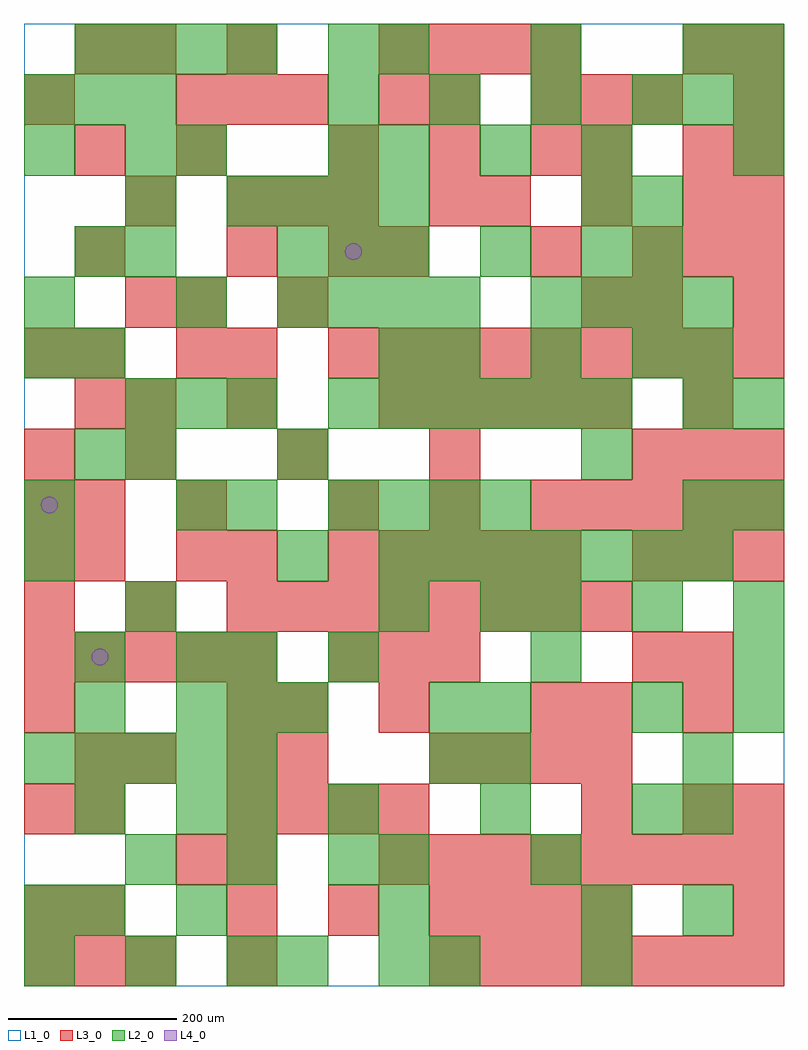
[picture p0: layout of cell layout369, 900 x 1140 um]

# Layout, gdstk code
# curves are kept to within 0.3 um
import gdstk
lib = gdstk.Library(unit=1e-6, precision=1e-09)
def R(c, l, rs):  # rectangles x0, y0, x1, y1
    for r in rs: c.add(gdstk.rectangle(r[:2], r[2:], *l))
def A(c, l, x, y, w, h, nx, ny, dx, dy):  # array of equal rectangles
    R(c, l, [(x+i*dx, y+j*dy, x+i*dx+w, y+j*dy+h) for i in range(nx) for j in range(ny)])
def P(c, l, *ps):  # polygons
    for p in ps: c.add(gdstk.Polygon(p, *l))
L1_0 = (1, 0)
L2_0 = (2, 0)
L3_0 = (3, 0)
L4_0 = (4, 0)

layout369 = lib.new_cell('layout369')
R(layout369, L1_0, [(0,0,900,1140)])
A(layout369, L2_0, 0, 0, 60, 60, 3, 1, 120, 0)
A(layout369, L2_0, 60, 60, 60, 60, 1, 3, 0, 120)
A(layout369, L2_0, 180, 60, 60, 60, 3, 1, 240, 0)
A(layout369, L2_0, 120, 120, 60, 60, 3, 1, 120, 0)
A(layout369, L2_0, 420, 120, 60, 60, 1, 3, 0, 300)
A(layout369, L2_0, 180, 180, 60, 60, 1, 3, 0, 180)
A(layout369, L2_0, 240, 180, 60, 60, 1, 3, 0, 180)
A(layout369, L2_0, 360, 180, 60, 60, 3, 1, 180, 0)
A(layout369, L2_0, 0, 240, 60, 60, 5, 1, 60, 0)
A(layout369, L2_0, 180, 300, 60, 60, 3, 1, 60, 0)
A(layout369, L2_0, 360, 360, 60, 60, 3, 1, 240, 0)
A(layout369, L2_0, 600, 420, 60, 60, 3, 1, 120, 0)
A(layout369, L2_0, 420, 480, 60, 60, 7, 1, 60, 0)
A(layout369, L2_0, 360, 540, 60, 60, 4, 1, 60, 0)
A(layout369, L2_0, 60, 600, 60, 60, 1, 3, 0, 120)
A(layout369, L2_0, 120, 660, 60, 60, 3, 1, 60, 0)
A(layout369, L2_0, 360, 660, 60, 60, 6, 1, 60, 0)
A(layout369, L2_0, 480, 720, 60, 60, 3, 1, 120, 0)
A(layout369, L2_0, 300, 780, 60, 60, 4, 1, 60, 0)
A(layout369, L2_0, 600, 780, 60, 60, 4, 1, 60, 0)
A(layout369, L2_0, 120, 840, 60, 60, 1, 3, 0, 60)
A(layout369, L2_0, 300, 840, 60, 60, 3, 1, 60, 0)
A(layout369, L2_0, 240, 900, 60, 60, 4, 1, 60, 0)
A(layout369, L2_0, 420, 960, 60, 60, 3, 1, 120, 0)
A(layout369, L2_0, 840, 960, 60, 60, 1, 3, 0, 60)
A(layout369, L2_0, 0, 1020, 60, 60, 3, 1, 60, 0)
A(layout369, L2_0, 360, 1020, 60, 60, 4, 1, 120, 0)
A(layout369, L2_0, 60, 1080, 60, 60, 4, 1, 60, 0)
A(layout369, L2_0, 420, 1080, 60, 60, 3, 1, 180, 0)
R(layout369, L2_0, [(300,0,360,60), (420,0,480,60), (480,0,540,60), (660,0,720,60), (0,60,60,120), (780,60,840,120), (600,120,660,180), (780,180,840,240), (480,240,540,300), (540,240,600,300), (780,240,840,300), (480,300,540,360), (540,300,600,360), (720,300,780,360), (840,300,900,360), (60,360,120,420), (120,420,180,480), (540,420,600,480), (0,480,60,540), (300,480,360,540), (0,540,60,600), (780,540,840,600), (840,540,900,600), (120,600,180,660), (300,600,360,660), (660,600,720,660), (780,660,840,720), (840,660,900,720), (0,720,60,780), (780,720,840,780), (0,780,60,840), (180,780,240,840), (540,840,600,900), (660,840,720,900), (720,840,780,900), (660,900,720,960), (720,900,780,960), (0,960,60,1020), (180,960,240,1020), (360,960,420,1020), (780,1020,840,1080), (360,1080,420,1140)])
A(layout369, L3_0, 0, 0, 60, 60, 3, 1, 60, 0)
A(layout369, L3_0, 240, 0, 60, 60, 1, 3, 0, 120)
A(layout369, L3_0, 480, 0, 60, 60, 7, 1, 60, 0)
A(layout369, L3_0, 0, 60, 60, 60, 1, 3, 0, 120)
A(layout369, L3_0, 240, 60, 60, 60, 3, 1, 120, 0)
A(layout369, L3_0, 540, 60, 60, 60, 3, 1, 60, 0)
A(layout369, L3_0, 420, 120, 60, 60, 8, 1, 60, 0)
A(layout369, L3_0, 240, 180, 60, 60, 4, 1, 60, 0)
A(layout369, L3_0, 480, 240, 60, 60, 4, 1, 60, 0)
A(layout369, L3_0, 240, 300, 60, 60, 1, 3, 0, 180)
A(layout369, L3_0, 0, 360, 60, 60, 5, 1, 60, 0)
A(layout369, L3_0, 360, 360, 60, 60, 3, 1, 60, 0)
A(layout369, L3_0, 780, 360, 60, 60, 1, 3, 0, 300)
A(layout369, L3_0, 0, 420, 60, 60, 3, 1, 120, 0)
A(layout369, L3_0, 300, 420, 60, 60, 7, 1, 60, 0)
A(layout369, L3_0, 0, 480, 60, 60, 1, 3, 0, 60)
A(layout369, L3_0, 360, 480, 60, 60, 5, 1, 60, 0)
A(layout369, L3_0, 720, 480, 60, 60, 3, 2, 60, 120)
A(layout369, L3_0, 360, 540, 60, 60, 3, 2, 120, 420)
A(layout369, L3_0, 660, 540, 60, 60, 4, 1, 60, 0)
A(layout369, L3_0, 120, 600, 60, 60, 3, 1, 180, 0)
A(layout369, L3_0, 120, 660, 60, 60, 1, 3, 0, 120)
A(layout369, L3_0, 420, 660, 60, 60, 5, 1, 60, 0)
A(layout369, L3_0, 60, 720, 60, 60, 1, 4, 0, 120)
A(layout369, L3_0, 360, 720, 60, 60, 9, 1, 60, 0)
A(layout369, L3_0, 720, 840, 60, 60, 3, 1, 60, 0)
A(layout369, L3_0, 240, 900, 60, 60, 3, 1, 60, 0)
A(layout369, L3_0, 540, 900, 60, 60, 3, 1, 120, 0)
A(layout369, L3_0, 840, 900, 60, 60, 1, 4, 0, 60)
A(layout369, L3_0, 180, 1020, 60, 60, 3, 1, 60, 0)
A(layout369, L3_0, 600, 1020, 60, 60, 3, 1, 60, 0)
A(layout369, L3_0, 420, 1080, 60, 60, 4, 1, 60, 0)
R(layout369, L3_0, [(60,60,120,120), (840,60,900,120), (180,120,240,180), (60,180,120,240), (660,180,720,240), (780,180,840,240), (840,180,900,240), (60,240,120,300), (120,240,180,300), (300,240,360,300), (300,300,360,360), (420,300,480,360), (600,300,660,360), (660,300,720,360), (780,300,840,360), (720,360,780,420), (60,480,120,540), (180,480,240,540), (60,540,120,600), (180,540,240,600), (60,660,120,720), (0,720,60,780), (180,720,240,780), (240,720,300,780), (180,780,240,840), (300,780,360,840), (660,780,720,840), (720,780,780,840), (840,780,900,840), (240,840,300,900), (360,840,420,900), (420,840,480,900), (600,840,660,900), (480,900,540,960), (180,960,240,1020), (660,960,720,1020), (0,1020,60,1080), (420,1020,480,1080), (480,1020,540,1080), (120,1080,180,1140), (240,1080,300,1140), (780,1080,840,1140)])
P(layout369, L4_0, [(40,570),(39.239,573.827),(37.071,577.071),(33.827,579.239),(30,580),(26.173,579.239),(22.929,577.071),(20.761,573.827),(20,570),(20.761,566.173),(22.929,562.929),(26.173,560.761),(30,560),(33.827,560.761),(37.071,562.929),(39.239,566.173)],
  [(100,390),(99.239,393.827),(97.071,397.071),(93.827,399.239),(90,400),(86.173,399.239),(82.929,397.071),(80.761,393.827),(80,390),(80.761,386.173),(82.929,382.929),(86.173,380.761),(90,380),(93.827,380.761),(97.071,382.929),(99.239,386.173)],
  [(400,870),(399.239,873.827),(397.071,877.071),(393.827,879.239),(390,880),(386.173,879.239),(382.929,877.071),(380.761,873.827),(380,870),(380.761,866.173),(382.929,862.929),(386.173,860.761),(390,860),(393.827,860.761),(397.071,862.929),(399.239,866.173)])

lib.write_gds('layout369.gds')
